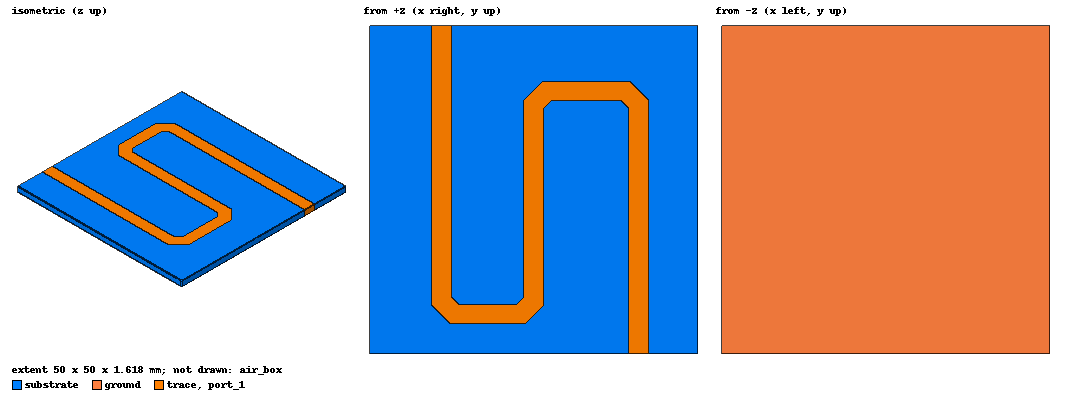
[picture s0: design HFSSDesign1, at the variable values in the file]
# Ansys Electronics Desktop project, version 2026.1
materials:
  vacuum: permittivity=1
  copper: permeability=0.999991 conductivity=58000000
  FR4_epoxy: permittivity=4.4 dielectric_loss_tangent=0.02

design HFSSDesign1 (HFSS, HFSS Terminal Network, model units mm)
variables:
  h = 1.6mm
  cu_th = 0.035mm
  er = 4.4
  w = 3mm
  t = 1.6mm
  a_x = 50mm
  a_y = 50mm
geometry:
  ground [copper] = box(corner=(0mm, 0mm, 0mm), size=(a_x, a_y, cu_th))
  substrate [FR4_epoxy] = box(corner=(0mm, 0mm, 0mm), size=(a_x, a_y, t))
  port_1 = rectangle(corner=(1.5mm, 50mm, 0mm), z_size=t, x_size=w)
  port_2 = rectangle(corner=(33mm -1.5mm, 0, 0mm), z_size=t, x_size=w)
  trace [copper] = polyline(z=0mm, xy in mm: (3, 50) (3, 8) (5, 6) (15, 6) (17, 8) (17, 38) (19, 40) (31, 40) (33, 38) (33, 0), section rectangle width=w height=cu_th bend_type=Curved)
  trace.move(0mm, 0mm, t)
  air_box [vacuum] = box(corner=(-10mm, -10mm, (-36/2) mm), size=(70mm, 70mm, 36mm))
  [trace, port_1, port_2].move(8mm, 0mm, 0mm)
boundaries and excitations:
  PerfE1: Perfect E Objects=ground
  Rad1: Radiation Objects=air_box
  2: Lumped Port Objects=port_1 LumpedPortType=Modal Modes{Mode1{IntLine{(11, 50, 1.5825) -> (11, 50, 0)} CharImp=Zpi RenormImp=50ohm}} Impedance=50ohm
  1: Lumped Port Objects=port_2 LumpedPortType=Modal Modes{Mode1{IntLine{(41, 0, 1.6) -> (41, 0, 0)} CharImp=Zpi RenormImp=50ohm}} Impedance=50ohm
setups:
  Setup1: HfssDriven Frequency=1.5GHz MaxDeltaS=0.02 MaximumPasses=6 MinimumPasses=1 MinimumConvergedPasses=1 PercentRefinement=30 BasisOrder=1 PortAccuracy=2 DrivenSolverType="Direct Solver"
    sweep Sweep: 10MHz to 1.5GHz, 401 points; Type=Interpolating InterpTolerance=0.5 InterpMaxSolns=250 PassivityErrorTolerance=0.0001
    sweep Discreate_100Mhz: point 100MHz; Type=Discrete SaveFields
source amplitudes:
  2:1: 1V 0deg
  1:1: 0V 0deg
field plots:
  Mag_E1: E Field in substrate on Setup1 : Discreate_100Mhz at Freq=0.1GHz Phase=0deg
  Mesh1: MeshPlots in substrate on Setup1 : LastAdaptive at Freq=1.5GHz Phase=0deg
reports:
  S11 magnitude vs. frequency: dB(S(1,1)) vs Freq on Setup1 : Sweep
  phase vs. frequency: cang_rad(S(1,1)), cang_rad(S(2,1)) vs Freq on Setup1 : Sweep
  S21 magnitude vs. frequency: dB(S(2,1)) vs Freq on Setup1 : Sweep
